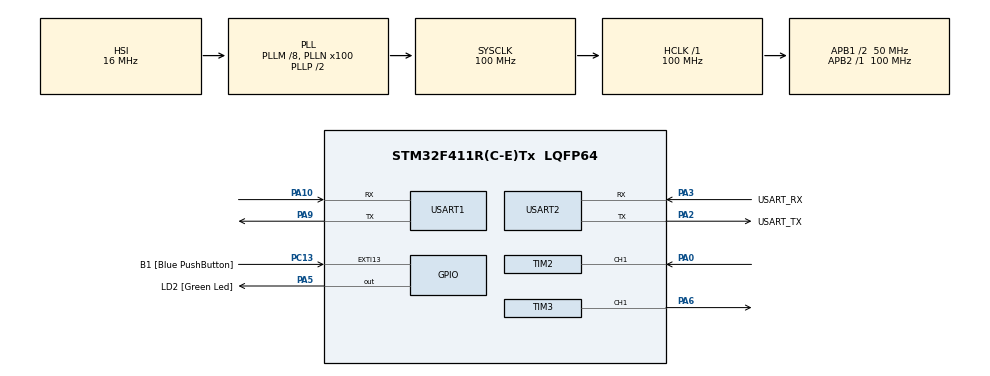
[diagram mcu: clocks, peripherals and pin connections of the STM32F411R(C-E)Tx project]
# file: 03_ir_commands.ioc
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Mcu.Family=STM32F4
Mcu.Name=STM32F411R(C-E)Tx
Mcu.Package=LQFP64
NVIC.EXTI15_10_IRQn=true\:3\:0\:true\:false\:true\:true\:true\:true
NVIC.PriorityGroup=NVIC_PRIORITYGROUP_4
NVIC.TIM2_IRQn=true\:1\:0\:true\:false\:true\:true\:true\:true
NVIC.TIM5_IRQn=true\:0\:0\:false\:false\:true\:true\:true\:true
NVIC.USART1_IRQn=true\:2\:0\:true\:false\:true\:true\:true\:true
NVIC.USART2_IRQn=true\:2\:0\:true\:false\:true\:true\:true\:true
PA0-WKUP.GPIO_PuPd=GPIO_PULLUP
PA0-WKUP.Signal=S_TIM2_CH1_ETR
PA10.GPIO_PuPd=GPIO_PULLUP
PA10.Mode=Asynchronous
PA10.Signal=USART1_RX
PA13.GPIO_Label=TMS
PA13.Mode=Serial_Wire
PA13.Signal=SYS_JTMS-SWDIO
PA14.GPIO_Label=TCK
PA14.Mode=Serial_Wire
PA14.Signal=SYS_JTCK-SWCLK
PA2.GPIO_Label=USART_TX
PA2.Mode=Asynchronous
PA2.Signal=USART2_TX
PA3.GPIO_Label=USART_RX
PA3.Mode=Asynchronous
PA3.Signal=USART2_RX
PA5.GPIO_Label=LD2 [Green Led]
PA5.Signal=GPIO_Output
PA6.Signal=S_TIM3_CH1
PA9.Mode=Asynchronous
PA9.Signal=USART1_TX
PB3.GPIO_Label=SWO
PB3.Signal=SYS_JTDO-SWO
PC13-ANTI_TAMP.GPIO_Label=B1 [Blue PushButton]
PC13-ANTI_TAMP.GPIO_ModeDefaultEXTI=GPIO_MODE_IT_FALLING
PC13-ANTI_TAMP.Signal=GPXTI13
PC14-OSC32_IN.Mode=LSE-External-Oscillator
PC14-OSC32_IN.Signal=RCC_OSC32_IN
PC15-OSC32_OUT.Mode=LSE-External-Oscillator
PC15-OSC32_OUT.Signal=RCC_OSC32_OUT
PH0\ -\ OSC_IN.Mode=HSE-External-Clock-Source
PH0\ -\ OSC_IN.Signal=RCC_OSC_IN
PH1\ -\ OSC_OUT.Mode=HSE-External-Clock-Source
PH1\ -\ OSC_OUT.Signal=RCC_OSC_OUT
ProjectManager.HeapSize=0x200
ProjectManager.StackSize=0x400
ProjectManager.TargetToolchain=STM32CubeIDE
RCC.48MHZClocksFreq_Value=50000000
RCC.AHBFreq_Value=100000000
RCC.APB1CLKDivider=RCC_HCLK_DIV2
RCC.APB1Freq_Value=50000000
RCC.APB1TimFreq_Value=100000000
RCC.APB2Freq_Value=100000000
RCC.APB2TimFreq_Value=100000000
RCC.CortexFreq_Value=100000000
RCC.FLatency-AdvancedSettings=FLASH_LATENCY_3
RCC.HCLKFreq_Value=100000000
RCC.HSE_VALUE=8000000
RCC.HSI_VALUE=16000000
RCC.PLLM=8
RCC.PLLN=100
RCC.SYSCLKFreq_VALUE=100000000
RCC.SYSCLKSource=RCC_SYSCLKSOURCE_PLLCLK
RCC.VCOOutputFreq_Value=200000000
SH.S_TIM2_CH1_ETR.0=TIM2_CH1,Input_Capture1_from_TI1
SH.S_TIM3_CH1.0=TIM3_CH1,PWM Generation1 CH1
TIM2.Channel-Input_Capture1_from_TI1=TIM_CHANNEL_1
TIM2.ICPolarity_CH1=TIM_INPUTCHANNELPOLARITY_BOTHEDGE
TIM2.Prescaler=99
TIM3.Channel-PWM\ Generation1\ CH1=TIM_CHANNEL_1
TIM3.Period=2631
TIM5.Prescaler=99
USART1.VirtualMode=VM_ASYNC
USART2.VirtualMode=VM_ASYNC
VP_TIM2_VS_ClockSourceINT.Mode=Internal
VP_TIM3_VS_ClockSourceINT.Mode=Internal
VP_TIM5_VS_ClockSourceINT.Mode=Internal
board=NUCLEO-F411RE

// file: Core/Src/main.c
/* USER CODE BEGIN Header */
/**
  ******************************************************************************
  * @file           : main.c
  * @brief          : Main program body
  ******************************************************************************
  * @attention
  *
  * Copyright (c) 2026 STMicroelectronics.
  * All rights reserved.
  *
  * This software is licensed under terms that can be found in the LICENSE file
  * in the root directory of this software component.
  * If no LICENSE file comes with this software, it is provided AS-IS.
  *
  ******************************************************************************
  */
/* USER CODE END Header */
#include "main.h"

/* USER CODE BEGIN Includes */
#include <stdio.h>
#include <string.h>
#include <stdlib.h>
/* USER CODE END Includes */

/* USER CODE BEGIN PD */
#define IR_MAX_EDGES      600       // max durations per code (see docs/uart-protocol.md)
#define IR_END_GAP_US     80000u    // 80 ms silence = end of signal
#define CARRIER_ON        877       // 33% of 2631 -> 38 kHz pulses
#define LINE_MAX          5000      // longest command: "SEND,600," + 600 numbers
#define LEARN_TIMEOUT_MS  10000u
/* USER CODE END PD */

TIM_HandleTypeDef htim2;
TIM_HandleTypeDef htim3;
TIM_HandleTypeDef htim5;

UART_HandleTypeDef huart1;
UART_HandleTypeDef huart2;

/* USER CODE BEGIN PV */
// ---- IR receiver ----
volatile uint32_t ir_buf[IR_MAX_EDGES];
volatile uint16_t ir_count = 0;
volatile uint32_t ir_last_edge = 0;
volatile uint8_t  ir_started = 0, ir_overflow = 0, ir_from_tx = 0;

// ---- IR transmitter ----
uint32_t          tx_buf[IR_MAX_EDGES];
volatile uint16_t tx_count = 0, tx_index = 0;
volatile uint8_t  tx_busy = 0, tx_done = 0;
UART_HandleTypeDef *tx_reply_port = NULL;     // who gets ACK,SEND (NULL = B1 replay)

// ---- last captured code (for B1 replay) ----
uint32_t saved_buf[IR_MAX_EDGES];
uint16_t saved_count = 0;

// ---- LEARN state ----
uint8_t  learn_active = 0;
uint32_t learn_start = 0;
UART_HandleTypeDef *learn_port = NULL;

// ---- UART line receivers: one per port, each with its OWN command buffer ----
typedef struct {
  uint8_t  byte;               // 1-byte buffer for HAL_UART_Receive_IT
  char     buf[LINE_MAX];      // line being received
  uint16_t len;
  uint8_t  overflow;
  char     cmd[LINE_MAX];      // last complete line, waiting for the main loop
  volatile uint8_t  ready;     // cmd[] holds a new command
  volatile uint8_t  toolong;   // a line was longer than LINE_MAX
  volatile uint32_t bytes;     // statistics, for debugging the link
  volatile uint32_t dropped;
  volatile uint32_t errors;
} LineRx;
LineRx rx1, rx2;               // rx1 = USART1 (ESP32), rx2 = USART2 (PC)

volatile uint8_t  b1_request = 0;
volatile uint32_t last_press = 0;
char out[128];
/* USER CODE END PV */

void SystemClock_Config(void);
static void MX_GPIO_Init(void);
static void MX_USART2_UART_Init(void);
static void MX_TIM2_Init(void);
static void MX_TIM3_Init(void);
static void MX_TIM5_Init(void);
static void MX_USART1_UART_Init(void);

/* USER CODE BEGIN 0 */
// ======================= UART helpers =======================
static void send_str(UART_HandleTypeDef *h, const char *s)
{
  HAL_UART_Transmit(h, (uint8_t *)s, strlen(s), HAL_MAX_DELAY);
}

static void debug(const char *s)            // human-only messages, USART2 only
{
  send_str(&huart2, "# ");
  send_str(&huart2, s);
  send_str(&huart2, "\r\n");
}

static void send_code_line(UART_HandleTypeDef *h, const uint32_t *t, uint16_t n)
{
  sprintf(out, "CODE,%u", n);
  send_str(h, out);
  for (uint16_t i = 0; i < n; i++) {
    sprintf(out, ",%lu", t[i]);
    send_str(h, out);
  }
  send_str(h, "\r\n");
}

// Every received byte lands here; a full line becomes a command for that port
void HAL_UART_RxCpltCallback(UART_HandleTypeDef *huart)
{
  LineRx *r = (huart->Instance == USART1) ? &rx1 : &rx2;
  char c = (char)r->byte;
  r->bytes++;

  if (c == '\r' || c == '\n') {
    if (r->overflow) {
      r->toolong = 1;
    } else if (r->len > 0) {
      if (!r->ready) {
        memcpy(r->cmd, r->buf, r->len);
        r->cmd[r->len] = '\0';
        r->ready = 1;
      } else {
        r->dropped++;              // main loop still busy with this port's previous command
      }
    }
    r->len = 0;
    r->overflow = 0;
  } else if (r->len < LINE_MAX - 1) {
    r->buf[r->len++] = c;
  } else {
    r->overflow = 1;
  }
  HAL_UART_Receive_IT(huart, &r->byte, 1);   // re-arm for the next byte
}

// On a UART error (noise, framing, overrun) HAL may stop receiving -> count it and restart
void HAL_UART_ErrorCallback(UART_HandleTypeDef *huart)
{
  LineRx *r = (huart->Instance == USART1) ? &rx1 : &rx2;
  r->errors++;
  r->len = 0;
  r->overflow = 0;
  HAL_UART_Receive_IT(huart, &r->byte, 1);
}
// ======================= IR transmitter =======================
static void carrier(uint8_t on)
{
  __HAL_TIM_SET_COMPARE(&htim3, TIM_CHANNEL_1, on ? CARRIER_ON : 0);
}

static void ir_start_tx(UART_HandleTypeDef *reply_to)   // sends tx_buf[0..tx_count-1]
{
  tx_busy = 1;
  tx_index = 0;
  tx_reply_port = reply_to;
  carrier(1);
  __HAL_TIM_SET_AUTORELOAD(&htim5, tx_buf[0] - 1);
  __HAL_TIM_SET_COUNTER(&htim5, 0);
  __HAL_TIM_CLEAR_FLAG(&htim5, TIM_FLAG_UPDATE);
  HAL_TIM_Base_Start_IT(&htim5);
}

void HAL_TIM_PeriodElapsedCallback(TIM_HandleTypeDef *htim)
{
  if (htim->Instance == TIM5)
  {
    tx_index++;
    if (tx_index >= tx_count) {
      carrier(0);
      HAL_TIM_Base_Stop_IT(&htim5);
      tx_busy = 0;
      tx_done = 1;                       // main loop sends ACK,SEND
    } else {
      carrier((tx_index % 2) == 0);      // even = mark, odd = space
      __HAL_TIM_SET_AUTORELOAD(&htim5, tx_buf[tx_index] - 1);
    }
  }
}

// ======================= IR receiver =======================
void HAL_TIM_IC_CaptureCallback(TIM_HandleTypeDef *htim)
{
  if (htim->Instance == TIM2 && htim->Channel == HAL_TIM_ACTIVE_CHANNEL_1)
  {
    uint32_t now = HAL_TIM_ReadCapturedValue(htim, TIM_CHANNEL_1);
    if (!ir_started) {
      ir_started = 1;
      ir_from_tx = tx_busy;
    } else if (ir_count < IR_MAX_EDGES) {
      ir_buf[ir_count++] = now - ir_last_edge;
    } else {
      ir_overflow = 1;
    }
    ir_last_edge = now;
  }
}

// ======================= B1 button =======================
void HAL_GPIO_EXTI_Callback(uint16_t GPIO_Pin)
{
  if (GPIO_Pin == B1_Pin) {
    uint32_t now = HAL_GetTick();
    if (now - last_press > 300) {
      last_press = now;
      b1_request = 1;
    }
  }
}

// ======================= Commands =======================
// Parse "SEND,<n>,<t1>,...,<tn>" into tx_buf. Returns n, or 0 if malformed.
static uint16_t parse_send(const char *s)
{
  char *p;
  unsigned long n = strtoul(s + 5, &p, 10);         // skip "SEND,"
  if (n == 0 || n > IR_MAX_EDGES) return 0;
  for (uint16_t i = 0; i < n; i++) {
    if (*p != ',') return 0;
    unsigned long v = strtoul(p + 1, &p, 10);
    if (v == 0 || v > 1000000) return 0;
    tx_buf[i] = v;
  }
  if (*p != '\0') return 0;                         // junk after the last number
  return (uint16_t)n;
}

static void handle_command(const char *c, UART_HandleTypeDef *h)
{
  if (strcmp(c, "PING") == 0) {
    send_str(h, "PONG\r\n");
  }
  else if (strcmp(c, "LEARN") == 0) {
    learn_active = 1;
    learn_start  = HAL_GetTick();
    learn_port   = h;
    debug("LEARN: tap a remote button at the receiver (10 s)");
  }
  else if (strcmp(c, "CANCEL") == 0) {
    learn_active = 0;
    send_str(h, "ACK,CANCEL\r\n");
  }
  else if (strncmp(c, "SEND,", 5) == 0) {
    if (tx_busy) { send_str(h, "ERR,SEND,BUSY\r\n"); return; }
    uint16_t n = parse_send(c);
    if (n == 0)  { send_str(h, "ERR,SEND,FORMAT\r\n"); return; }
    tx_count = n;
    ir_start_tx(h);                                 // ACK,SEND comes when it finishes
  }
  else {
    send_str(h, "ERR,UNKNOWN\r\n");
  }
}

// Run any command waiting on this port; replies go back to the same port
static void service_port(LineRx *r, UART_HandleTypeDef *h)
{
  if (r->ready) {
    handle_command(r->cmd, h);
    r->ready = 0;
  }
  if (r->toolong) {
    r->toolong = 0;
    send_str(h, "ERR,LINE,TOO_LONG\r\n");
  }
}
/* USER CODE END 0 */

int main(void)
{

  /* MCU Configuration--------------------------------------------------------*/

  /* Reset of all peripherals, Initializes the Flash interface and the Systick. */
  HAL_Init();

  /* Configure the system clock */
  SystemClock_Config();

  /* Initialize all configured peripherals */
  MX_GPIO_Init();
  MX_USART2_UART_Init();
  MX_TIM2_Init();
  MX_TIM3_Init();
  MX_TIM5_Init();
  MX_USART1_UART_Init();
  /* USER CODE BEGIN 2 */
  HAL_UART_Receive_IT(&huart1, &rx1.byte, 1);
    HAL_UART_Receive_IT(&huart2, &rx2.byte, 1);
    HAL_TIM_PWM_Start(&htim3, TIM_CHANNEL_1);
    HAL_TIM_IC_Start_IT(&htim2, TIM_CHANNEL_1);

    send_str(&huart1, "READY\r\n");
    send_str(&huart2, "READY\r\n");
    debug("IR command link. Commands: PING | LEARN | CANCEL | SEND,n,t1,...,tn");
  /* USER CODE END 2 */

  /* Infinite loop */
  while (1)
  {

    /* USER CODE BEGIN 3 */
	  // 0) Safety net: if a UART stopped receiving (e.g. after an error), restart it
	      if (huart1.RxState == HAL_UART_STATE_READY) HAL_UART_Receive_IT(&huart1, &rx1.byte, 1);
	      if (huart2.RxState == HAL_UART_STATE_READY) HAL_UART_Receive_IT(&huart2, &rx2.byte, 1);

	      // 1) Commands from each port (independent, so one can't block the other)
	          service_port(&rx1, &huart1);
	          service_port(&rx2, &huart2);

	          // (debug) link statistics every 30 s, USART2 only
	          static uint32_t last_stats = 0;
	          if (HAL_GetTick() - last_stats > 30000) {
	            last_stats = HAL_GetTick();
	            sprintf(out, "stats: USART1 %lu bytes, %lu dropped, %lu errors | USART2 %lu bytes, %lu dropped, %lu errors",
	                    rx1.bytes, rx1.dropped, rx1.errors, rx2.bytes, rx2.dropped, rx2.errors);
	            debug(out);
	          }

	      // 2) Transmission finished -> acknowledge
	      if (tx_done) {
	        tx_done = 0;
	        if (tx_reply_port) send_str(tx_reply_port, "ACK,SEND\r\n");
	        else               debug("B1 replay sent");
	      }

	      // 3) LEARN timed out
	      if (learn_active && (HAL_GetTick() - learn_start > LEARN_TIMEOUT_MS)) {
	        learn_active = 0;
	        send_str(learn_port, "ERR,LEARN,TIMEOUT\r\n");
	      }

	      // 4) B1 -> replay the last captured code
	      if (b1_request) {
	        b1_request = 0;
	        if (saved_count == 0)  debug("nothing captured yet");
	        else if (tx_busy)      debug("busy");
	        else {
	          memcpy(tx_buf, saved_buf, saved_count * sizeof(uint32_t));
	          tx_count = saved_count;
	          ir_start_tx(NULL);
	        }
	      }

	      // 5) A received IR signal has finished
	      if (ir_started)
	      {
	        __disable_irq();
	        uint32_t last = ir_last_edge;
	        uint32_t now  = __HAL_TIM_GET_COUNTER(&htim2);
	        __enable_irq();

	        if (now - last > IR_END_GAP_US)
	        {
	          HAL_TIM_IC_Stop_IT(&htim2, TIM_CHANNEL_1);

	          if (ir_from_tx) {
	            sprintf(out, "loopback: heard %u of %u durations", ir_count, tx_count);
	            debug(out);
	          }
	          else if (ir_overflow) {
	            if (learn_active) {
	              learn_active = 0;
	              send_str(learn_port, "ERR,LEARN,TOO_LONG\r\n");
	            } else {
	              debug("signal too long - ignored");
	            }
	          }
	          else {
	            for (uint16_t i = 0; i < ir_count; i++) saved_buf[i] = ir_buf[i];
	            saved_count = ir_count;
	            if (learn_active) {
	              learn_active = 0;
	              send_code_line(learn_port, saved_buf, saved_count);
	            } else {
	              sprintf(out, "captured %u durations (press B1 to replay)", saved_count);
	              debug(out);
	            }
	          }
	          HAL_GPIO_TogglePin(LD2_GPIO_Port, LD2_Pin);

	          ir_count = 0; ir_started = 0; ir_overflow = 0; ir_from_tx = 0;
	          HAL_TIM_IC_Start_IT(&htim2, TIM_CHANNEL_1);
	        }
	      }
	    }   // <-- closes while (1). Keep this brace!
  /* USER CODE END 3 */
}

void SystemClock_Config(void)
{
  RCC_OscInitTypeDef RCC_OscInitStruct = {0};
  RCC_ClkInitTypeDef RCC_ClkInitStruct = {0};

  /** Configure the main internal regulator output voltage
  */
  __HAL_RCC_PWR_CLK_ENABLE();
  __HAL_PWR_VOLTAGESCALING_CONFIG(PWR_REGULATOR_VOLTAGE_SCALE1);

  /** Initializes the RCC Oscillators according to the specified parameters
  * in the RCC_OscInitTypeDef structure.
  */
  RCC_OscInitStruct.OscillatorType = RCC_OSCILLATORTYPE_HSI;
  RCC_OscInitStruct.HSIState = RCC_HSI_ON;
  RCC_OscInitStruct.HSICalibrationValue = RCC_HSICALIBRATION_DEFAULT;
  RCC_OscInitStruct.PLL.PLLState = RCC_PLL_ON;
  RCC_OscInitStruct.PLL.PLLSource = RCC_PLLSOURCE_HSI;
  RCC_OscInitStruct.PLL.PLLM = 8;
  RCC_OscInitStruct.PLL.PLLN = 100;
  RCC_OscInitStruct.PLL.PLLP = RCC_PLLP_DIV2;
  RCC_OscInitStruct.PLL.PLLQ = 4;
  if (HAL_RCC_OscConfig(&RCC_OscInitStruct) != HAL_OK)
  {
    Error_Handler();
  }

  /** Initializes the CPU, AHB and APB buses clocks
  */
  RCC_ClkInitStruct.ClockType = RCC_CLOCKTYPE_HCLK|RCC_CLOCKTYPE_SYSCLK
                              |RCC_CLOCKTYPE_PCLK1|RCC_CLOCKTYPE_PCLK2;
  RCC_ClkInitStruct.SYSCLKSource = RCC_SYSCLKSOURCE_PLLCLK;
  RCC_ClkInitStruct.AHBCLKDivider = RCC_SYSCLK_DIV1;
  RCC_ClkInitStruct.APB1CLKDivider = RCC_HCLK_DIV2;
  RCC_ClkInitStruct.APB2CLKDivider = RCC_HCLK_DIV1;

  if (HAL_RCC_ClockConfig(&RCC_ClkInitStruct, FLASH_LATENCY_3) != HAL_OK)
  {
    Error_Handler();
  }
}

static void MX_TIM2_Init(void)
{

  TIM_ClockConfigTypeDef sClockSourceConfig = {0};
  TIM_MasterConfigTypeDef sMasterConfig = {0};
  TIM_IC_InitTypeDef sConfigIC = {0};

  htim2.Instance = TIM2;
  htim2.Init.Prescaler = 99;
  htim2.Init.CounterMode = TIM_COUNTERMODE_UP;
  htim2.Init.Period = 4294967295;
  htim2.Init.ClockDivision = TIM_CLOCKDIVISION_DIV1;
  htim2.Init.AutoReloadPreload = TIM_AUTORELOAD_PRELOAD_DISABLE;
  if (HAL_TIM_Base_Init(&htim2) != HAL_OK)
  {
    Error_Handler();
  }
  sClockSourceConfig.ClockSource = TIM_CLOCKSOURCE_INTERNAL;
  if (HAL_TIM_ConfigClockSource(&htim2, &sClockSourceConfig) != HAL_OK)
  {
    Error_Handler();
  }
  if (HAL_TIM_IC_Init(&htim2) != HAL_OK)
  {
    Error_Handler();
  }
  sMasterConfig.MasterOutputTrigger = TIM_TRGO_RESET;
  sMasterConfig.MasterSlaveMode = TIM_MASTERSLAVEMODE_DISABLE;
  if (HAL_TIMEx_MasterConfigSynchronization(&htim2, &sMasterConfig) != HAL_OK)
  {
    Error_Handler();
  }
  sConfigIC.ICPolarity = TIM_INPUTCHANNELPOLARITY_BOTHEDGE;
  sConfigIC.ICSelection = TIM_ICSELECTION_DIRECTTI;
  sConfigIC.ICPrescaler = TIM_ICPSC_DIV1;
  sConfigIC.ICFilter = 0;
  if (HAL_TIM_IC_ConfigChannel(&htim2, &sConfigIC, TIM_CHANNEL_1) != HAL_OK)
  {
    Error_Handler();
  }

}

static void MX_TIM3_Init(void)
{

  TIM_ClockConfigTypeDef sClockSourceConfig = {0};
  TIM_MasterConfigTypeDef sMasterConfig = {0};
  TIM_OC_InitTypeDef sConfigOC = {0};

  htim3.Instance = TIM3;
  htim3.Init.Prescaler = 0;
  htim3.Init.CounterMode = TIM_COUNTERMODE_UP;
  htim3.Init.Period = 2631;
  htim3.Init.ClockDivision = TIM_CLOCKDIVISION_DIV1;
  htim3.Init.AutoReloadPreload = TIM_AUTORELOAD_PRELOAD_DISABLE;
  if (HAL_TIM_Base_Init(&htim3) != HAL_OK)
  {
    Error_Handler();
  }
  sClockSourceConfig.ClockSource = TIM_CLOCKSOURCE_INTERNAL;
  if (HAL_TIM_ConfigClockSource(&htim3, &sClockSourceConfig) != HAL_OK)
  {
    Error_Handler();
  }
  if (HAL_TIM_PWM_Init(&htim3) != HAL_OK)
  {
    Error_Handler();
  }
  sMasterConfig.MasterOutputTrigger = TIM_TRGO_RESET;
  sMasterConfig.MasterSlaveMode = TIM_MASTERSLAVEMODE_DISABLE;
  if (HAL_TIMEx_MasterConfigSynchronization(&htim3, &sMasterConfig) != HAL_OK)
  {
    Error_Handler();
  }
  sConfigOC.OCMode = TIM_OCMODE_PWM1;
  sConfigOC.Pulse = 0;
  sConfigOC.OCPolarity = TIM_OCPOLARITY_HIGH;
  sConfigOC.OCFastMode = TIM_OCFAST_DISABLE;
  if (HAL_TIM_PWM_ConfigChannel(&htim3, &sConfigOC, TIM_CHANNEL_1) != HAL_OK)
  {
    Error_Handler();
  }
  HAL_TIM_MspPostInit(&htim3);

}

static void MX_TIM5_Init(void)
{

  TIM_ClockConfigTypeDef sClockSourceConfig = {0};
  TIM_MasterConfigTypeDef sMasterConfig = {0};

  htim5.Instance = TIM5;
  htim5.Init.Prescaler = 99;
  htim5.Init.CounterMode = TIM_COUNTERMODE_UP;
  htim5.Init.Period = 4294967295;
  htim5.Init.ClockDivision = TIM_CLOCKDIVISION_DIV1;
  htim5.Init.AutoReloadPreload = TIM_AUTORELOAD_PRELOAD_DISABLE;
  if (HAL_TIM_Base_Init(&htim5) != HAL_OK)
  {
    Error_Handler();
  }
  sClockSourceConfig.ClockSource = TIM_CLOCKSOURCE_INTERNAL;
  if (HAL_TIM_ConfigClockSource(&htim5, &sClockSourceConfig) != HAL_OK)
  {
    Error_Handler();
  }
  sMasterConfig.MasterOutputTrigger = TIM_TRGO_RESET;
  sMasterConfig.MasterSlaveMode = TIM_MASTERSLAVEMODE_DISABLE;
  if (HAL_TIMEx_MasterConfigSynchronization(&htim5, &sMasterConfig) != HAL_OK)
  {
    Error_Handler();
  }

}

static void MX_USART1_UART_Init(void)
{

  huart1.Instance = USART1;
  huart1.Init.BaudRate = 115200;
  huart1.Init.WordLength = UART_WORDLENGTH_8B;
  huart1.Init.StopBits = UART_STOPBITS_1;
  huart1.Init.Parity = UART_PARITY_NONE;
  huart1.Init.Mode = UART_MODE_TX_RX;
  huart1.Init.HwFlowCtl = UART_HWCONTROL_NONE;
  huart1.Init.OverSampling = UART_OVERSAMPLING_16;
  if (HAL_UART_Init(&huart1) != HAL_OK)
  {
    Error_Handler();
  }

}

static void MX_USART2_UART_Init(void)
{

  huart2.Instance = USART2;
  huart2.Init.BaudRate = 115200;
  huart2.Init.WordLength = UART_WORDLENGTH_8B;
  huart2.Init.StopBits = UART_STOPBITS_1;
  huart2.Init.Parity = UART_PARITY_NONE;
  huart2.Init.Mode = UART_MODE_TX_RX;
  huart2.Init.HwFlowCtl = UART_HWCONTROL_NONE;
  huart2.Init.OverSampling = UART_OVERSAMPLING_16;
  if (HAL_UART_Init(&huart2) != HAL_OK)
  {
    Error_Handler();
  }

}

static void MX_GPIO_Init(void)
{
  GPIO_InitTypeDef GPIO_InitStruct = {0};

  /* GPIO Ports Clock Enable */
  __HAL_RCC_GPIOC_CLK_ENABLE();
  __HAL_RCC_GPIOH_CLK_ENABLE();
  __HAL_RCC_GPIOA_CLK_ENABLE();
  __HAL_RCC_GPIOB_CLK_ENABLE();

  /*Configure GPIO pin Output Level */
  HAL_GPIO_WritePin(LD2_GPIO_Port, LD2_Pin, GPIO_PIN_RESET);

  /*Configure GPIO pin : B1_Pin */
  GPIO_InitStruct.Pin = B1_Pin;
  GPIO_InitStruct.Mode = GPIO_MODE_IT_FALLING;
  GPIO_InitStruct.Pull = GPIO_NOPULL;
  HAL_GPIO_Init(B1_GPIO_Port, &GPIO_InitStruct);

  /*Configure GPIO pin : LD2_Pin */
  GPIO_InitStruct.Pin = LD2_Pin;
  GPIO_InitStruct.Mode = GPIO_MODE_OUTPUT_PP;
  GPIO_InitStruct.Pull = GPIO_NOPULL;
  GPIO_InitStruct.Speed = GPIO_SPEED_FREQ_LOW;
  HAL_GPIO_Init(LD2_GPIO_Port, &GPIO_InitStruct);

  /* EXTI interrupt init*/
  HAL_NVIC_SetPriority(EXTI15_10_IRQn, 3, 0);
  HAL_NVIC_EnableIRQ(EXTI15_10_IRQn);

}

void Error_Handler(void)
{
  __disable_irq();
  while (1)
  {
  }
}
